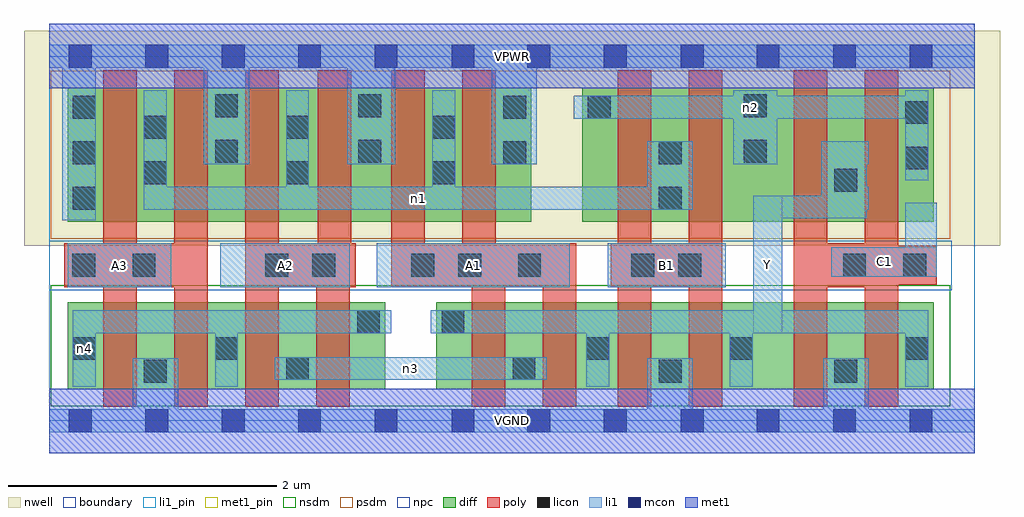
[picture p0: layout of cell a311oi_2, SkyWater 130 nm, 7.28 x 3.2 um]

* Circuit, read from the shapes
.subckt a311oi_2 A1 A2 A3 B1 C1 VGND VPWR Y n1 n2 n3 n4
XM1 VGND A3 n4 VSUBS sky130_fd_pr__nfet_01v8 w=0.65 l=0.25 m=2
XM2 n3 A2 n4 VSUBS sky130_fd_pr__nfet_01v8 w=0.65 l=0.25 m=2
XM3 n3 A1 Y VSUBS sky130_fd_pr__nfet_01v8 w=0.65 l=0.25 m=2
XM4 VGND B1 Y VSUBS sky130_fd_pr__nfet_01v8 w=0.65 l=0.25 m=2
XM5 VGND C1 Y VSUBS sky130_fd_pr__nfet_01v8 w=0.65 l=0.25 m=2
XM6 n1 A3 VPWR n5 sky130_fd_pr__pfet_01v8 w=1 l=0.25 m=2
XM7 n1 A2 VPWR n5 sky130_fd_pr__pfet_01v8 w=1 l=0.25 m=2
XM8 n1 A1 VPWR n5 sky130_fd_pr__pfet_01v8 w=1 l=0.25 m=2
XM9 n1 B1 n2 n5 sky130_fd_pr__pfet_01v8 w=1 l=0.25 m=2
XM10 Y C1 n2 n5 sky130_fd_pr__pfet_01v8 w=1 l=0.25 m=2
.ends

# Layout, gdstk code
import gdstk
lib = gdstk.Library(unit=1e-6, precision=1e-09)
def R(c, l, rs):  # rectangles x0, y0, x1, y1
    for r in rs: c.add(gdstk.rectangle(r[:2], r[2:], *l))
def A(c, l, x, y, w, h, nx, ny, dx, dy):  # array of equal rectangles
    R(c, l, [(x+i*dx, y+j*dy, x+i*dx+w, y+j*dy+h) for i in range(nx) for j in range(ny)])
nwell = (64, 20)
diff = (65, 20)
poly = (66, 20)
licon = (66, 44)
li1_pin = (67, 16)
li1 = (67, 20)
mcon = (67, 44)
met1_pin = (68, 16)
met1 = (68, 20)
nsdm = (93, 44)
psdm = (94, 20)
npc = (95, 20)
boundary = (235, 4)

a311oi_2 = lib.new_cell('a311oi_2')
R(a311oi_2, nwell, [(-0.19,1.305,7.09,2.91), (0,1.305,6.9,2.91)])
R(a311oi_2, diff, [(0.135,0.235,2.505,0.885), (2.885,0.235,6.595,0.885), (0.135,1.485,3.595,2.485), (3.975,1.485,6.595,2.485)])
A(a311oi_2, poly, 0.4, 0.105, 0.25, 2.51, 3, 1, 0.53, 0)
R(a311oi_2, poly, [(1.99,0.105,2.24,1.325), (3.15,0.105,3.4,1.325), (3.68,0.105,3.93,1.325), (4.24,0.105,4.49,2.615), (4.77,0.105,5.02,2.615), (5.55,0.105,5.8,2.615), (6.08,0.105,6.33,2.615), (0.11,0.995,1.18,1.325), (1.46,0.995,2.285,1.325), (2,0.995,2.25,2.615), (2.55,0.995,2.8,2.615), (2.55,0.995,3.93,1.325), (3.08,0.995,3.33,2.615), (4.185,0.995,5.02,1.325), (5.55,0.995,6.33,1.325), (5.55,1.015,6.62,1.305)])
A(a311oi_2, licon, 0.175, 1.575, 0.17, 0.17, 1, 3, 0, 0.34)
R(a311oi_2, licon, [(0.705,0.285,0.875,0.455), (4.545,0.285,4.715,0.455), (5.855,0.285,6.025,0.455), (1.765,0.305,1.935,0.475), (3.455,0.305,3.625,0.475), (0.175,0.455,0.345,0.625), (1.235,0.455,1.405,0.625), (4.005,0.455,4.175,0.625), (5.075,0.455,5.245,0.625), (6.385,0.455,6.555,0.625), (2.295,0.655,2.465,0.825), (2.925,0.655,3.095,0.825), (0.17,1.075,0.34,1.245), (0.62,1.075,0.79,1.245), (1.61,1.075,1.78,1.245), (1.96,1.075,2.13,1.245), (2.7,1.075,2.87,1.245), (3.05,1.075,3.22,1.245), (3.495,1.075,3.665,1.245), (4.34,1.075,4.51,1.245), (4.69,1.075,4.86,1.245), (5.92,1.075,6.09,1.245), (6.37,1.075,6.54,1.245), (4.545,1.575,4.715,1.745), (5.855,1.71,6.025,1.88), (0.705,1.765,0.875,1.935), (1.765,1.765,1.935,1.935), (2.855,1.765,3.025,1.935), (6.385,1.875,6.555,2.045), (3.385,1.915,3.555,2.085), (4.545,1.915,4.715,2.085), (1.235,1.925,1.405,2.095), (2.305,1.925,2.475,2.095), (5.18,1.925,5.35,2.095), (0.705,2.105,0.875,2.275), (1.765,2.105,1.935,2.275), (2.855,2.105,3.025,2.275), (6.385,2.215,6.555,2.385), (3.385,2.255,3.555,2.425), (4.015,2.255,4.185,2.425), (1.235,2.265,1.405,2.435), (2.305,2.265,2.475,2.435), (5.18,2.265,5.35,2.435)])
R(a311oi_2, li1_pin, [(5.25,0.655,5.465,1.68), (0.135,0.995,0.91,1.325), (1.275,0.995,2.24,1.325), (2.44,0.995,3.88,1.325), (4.165,0.995,5.045,1.325), (5.83,1.075,6.62,1.295)])
R(a311oi_2, li1, [(0,-0.085,6.9,0.085), (0.62,-0.085,0.96,0.465), (4.46,-0.085,4.8,0.465), (5.77,-0.085,6.11,0.465), (0.175,0.255,0.345,0.825), (1.235,0.255,1.405,0.825), (4.005,0.255,4.175,0.825), (5.075,0.255,5.245,0.825), (6.385,0.255,6.555,0.825), (1.68,0.305,3.71,0.475), (0.175,0.655,2.55,0.825), (2.845,0.655,6.555,0.825), (5.25,0.655,5.465,1.68), (0.135,0.995,0.91,1.325), (1.275,0.995,2.24,1.325), (2.44,0.995,3.88,1.325), (4.165,0.995,5.045,1.325), (5.83,1.075,6.62,1.295), (6.385,1.075,6.62,1.625), (0.095,1.495,0.345,2.805), (5.25,1.51,6.095,1.68), (5.755,1.51,6.095,2.085), (0.705,1.575,4.8,1.745), (0.705,1.575,0.875,2.465), (1.765,1.575,1.935,2.465), (2.855,1.575,3.025,2.465), (4.46,1.575,4.8,2.085), (5.755,1.575,6.11,1.745), (6.385,1.795,6.555,2.465), (1.15,1.915,1.49,2.805), (2.22,1.915,2.58,2.805), (3.3,1.915,3.635,2.805), (5.1,1.915,5.43,2.465), (5.755,1.915,6.11,2.085), (3.91,2.255,6.555,2.425), (0,2.635,6.9,2.805)])
A(a311oi_2, mcon, 0.145, -0.085, 0.17, 0.17, 5, 2, 0.57, 2.72)
A(a311oi_2, mcon, 5.275, -0.085, 0.17, 0.17, 3, 2, 0.57, 2.72)
R(a311oi_2, mcon, [(3,-0.085,3.17,0.085), (3.565,-0.085,3.735,0.085), (4.135,-0.085,4.305,0.085), (4.71,-0.085,4.88,0.085), (3,2.635,3.17,2.805), (3.565,2.635,3.735,2.805), (4.135,2.635,4.305,2.805), (4.71,2.635,4.88,2.805)])
R(a311oi_2, met1_pin, [(0,-0.24,6.9,0.24), (0,2.48,6.9,2.96)])
R(a311oi_2, met1, [(0,-0.24,6.9,0.24), (0,2.48,6.9,2.96)])
R(a311oi_2, nsdm, [(0.01,0.11,6.72,1.01)])
R(a311oi_2, psdm, [(0.01,1.36,6.72,2.61)])
R(a311oi_2, npc, [(0,0.975,6.73,1.345)])
R(a311oi_2, boundary, [(0,0,6.9,2.72)])
a311oi_2.add(gdstk.Label('A1', (3.16,1.16), layer=67, texttype=5))
a311oi_2.add(gdstk.Label('A2', (1.757,1.16), layer=67, texttype=5))
a311oi_2.add(gdstk.Label('A3', (0.522,1.16), layer=67, texttype=5))
a311oi_2.add(gdstk.Label('B1', (4.605,1.16), layer=67, texttype=5))
a311oi_2.add(gdstk.Label('C1', (6.225,1.185), layer=67, texttype=5))
a311oi_2.add(gdstk.Label('Y', (5.357,1.167), layer=67, texttype=5))
a311oi_2.add(gdstk.Label('n3', (2.695,0.39), layer=67, texttype=5))
a311oi_2.add(gdstk.Label('n4', (0.26,0.54), layer=67, texttype=5))
a311oi_2.add(gdstk.Label('n1', (2.752,1.66), layer=67, texttype=5))
a311oi_2.add(gdstk.Label('n2', (5.232,2.34), layer=67, texttype=5))
a311oi_2.add(gdstk.Label('VPWR', (3.45,2.72), layer=68, texttype=5))
a311oi_2.add(gdstk.Label('VGND', (3.45,0), layer=68, texttype=5))
a311oi_2.add(gdstk.Label('A1', (3.16,1.16), layer=67, texttype=16))
a311oi_2.add(gdstk.Label('A2', (1.757,1.16), layer=67, texttype=16))
a311oi_2.add(gdstk.Label('A3', (0.522,1.16), layer=67, texttype=16))
a311oi_2.add(gdstk.Label('B1', (4.605,1.16), layer=67, texttype=16))
a311oi_2.add(gdstk.Label('C1', (6.225,1.185), layer=67, texttype=16))
a311oi_2.add(gdstk.Label('Y', (5.357,1.167), layer=67, texttype=16))
a311oi_2.add(gdstk.Label('VPWR', (3.45,2.72), layer=68, texttype=16))
a311oi_2.add(gdstk.Label('VGND', (3.45,0), layer=68, texttype=16))

lib.write_gds('a311oi_2.gds')
